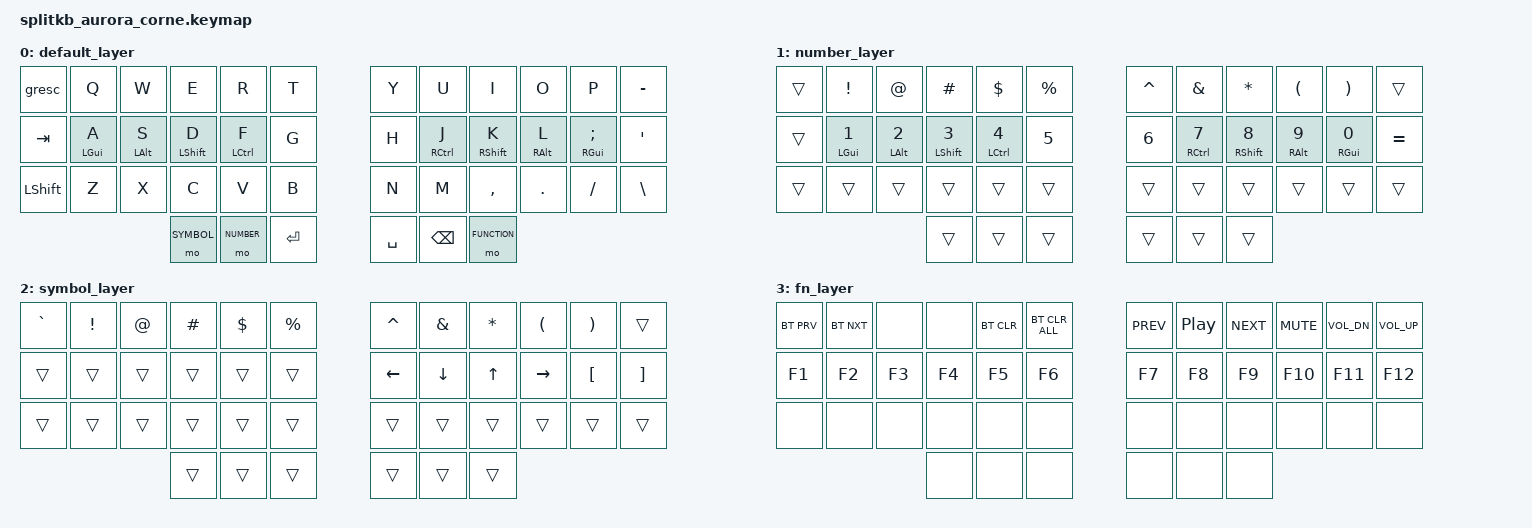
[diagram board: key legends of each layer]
/*
 * Copyright (c) 2020 The ZMK Contributors
 *
 * SPDX-License-Identifier: MIT
 */

#include <behaviors.dtsi>
#include <dt-bindings/zmk/keys.h>
#include <dt-bindings/zmk/bt.h>

#define DEFAULT    0
#define NUMBER     1
#define SYMBOL     2
#define FUNCTION   3

&mt {
  flavor = "tap-preferred";
};

/ {
        keymap {
                compatible = "zmk,keymap";

                default_layer {
// -----------------------------------------------------------------------------------------
// |  ESC |  Q  |  W  |  E  |  R  |  T  |   |  Y  |  U   |  I  |  O  |  P  |  -  |
// | TAB  |  A  |  S  |  D  |  F  |  G  |   |  H  |  J   |  K  |  L  |  ;  |  '  |
// | SHFT |  Z  |  X  |  C  |  V  |  B  |   |  N  |  M   |  ,  |  .  |  /  |  \  |
//                    | SYM | NUM | ENT |   | SPC | BKSPC  | FN |
                        bindings = <
   &gresc    &kp Q      &kp W      &kp E             &kp R             &kp T           &kp Y      &kp U        &kp I       &kp O       &kp P          &kp MINUS
   &kp TAB   &mt LGUI A &mt LALT S &mt LSHFT D       &mt LCTRL F       &kp G           &kp H      &mt RCTRL J  &mt RSHFT K &mt RALT L  &mt RGUI SEMI  &kp SQT 
   &kp LSHFT &kp Z      &kp X      &kp C             &kp V             &kp B           &kp N      &kp M        &kp COMMA   &kp DOT     &kp FSLH       &kp BSLH
                                   &mo SYMBOL        &mo NUMBER        &kp RET         &kp SPACE  &kp BSPC     &mo FUNCTION
                        >;
                };
                number_layer {
// -----------------------------------------------------------------------------------------
// |     |  !  |  @  |  #  |  $  |  %  |   |  ^  |  &  |  *  |  (  |  )  |  -  |
// |     |  1  |  2  |  3  |  4  |  5  |   |  6  |  7  |  8  |  9  |  0  |  =  |
// |     |     |     |     |     |     |   |     |     |     |     |     |     |
//                   |     |     |     |   |     |     |     |
                        bindings = <
   &trans  &kp EXCL     &kp AT       &kp HASH      &kp DLLR      &kp PRCNT       &kp CARET  &kp AMPS      &kp ASTRK     &kp LPAR     &kp RPAR     &trans
   &trans  &mt LGUI N1  &mt LALT N2  &mt LSHFT N3  &mt LCTRL N4  &kp N5          &kp N6     &mt RCTRL N7  &mt RSHFT N8  &mt RALT N9  &mt RGUI N0  &kp EQUAL
   &trans  &trans       &trans       &trans        &trans        &trans          &trans     &trans        &trans        &trans       &trans       &trans
                                     &trans        &trans        &trans          &trans     &trans        &trans
                        >;
                };

                symbol_layer {
// -----------------------------------------------------------------------------------------
// |  TAB |  !  |  @  |  #  |  $  |  %  |   |  ^  |  &  |  *  |  (  |  )  | BKSP |
// | CTRL |     |     |     |     |     |   |  L  |  D  |  U  |  R  |  [  |  ]   |
// | SHFT |     |     |     |     |     |   |     |     |     |     |     |      |
//                    | GUI |     | SPC |   | ENT |     | ALT |
                        bindings = <
   &kp GRAVE &kp EXCL &kp AT &kp HASH &kp DLLR &kp PRCNT      &kp CARET &kp AMPS  &kp ASTRK &kp LPAR  &kp RPAR &trans
   &trans    &trans   &trans &trans   &trans   &trans         &kp LEFT  &kp DOWN  &kp UP    &kp RIGHT &kp LBKT &kp RBKT
   &trans    &trans   &trans &trans   &trans   &trans         &trans    &trans    &trans    &trans    &trans   &trans
                             &trans   &trans   &trans         &trans    &trans    &trans
                        >;
                };

                fn_layer {
// -----------------------------------------------------------------------------------------
// |  F1      |  F2   |  F3    | F4  | F5  | F6  |   | F7  | F8   | F9    | F10  | F11  | F12      |
// | BTCLR    | BT1   | BT2    | BT3 | BT4 | BT5 |   | LFT | DWN  | UP    | RGT  |      | VOL UP   |
// | BTCLRALL |       |        |     |     |     |   |     | PREV | PAUSE | NEXT | MUTE | VOL DOWN |
//                             |     |     | SPC |   | ENT |      | ALT   |
                        bindings = <
   &bt BT_PRV  &bt BT_NXT  &none   &none   &bt BT_CLR   &bt BT_CLR_ALL     &kp C_PREV  &kp C_PP  &kp C_NEXT  &kp C_MUTE  &kp C_VOL_DN  &kp C_VOL_UP
   &kp F1      &kp F2      &kp F3  &kp F4  &kp F5       &kp F6             &kp F7      &kp F8    &kp F9      &kp F10     &kp F11       &kp F12
   &none       &none       &none   &none   &none        &none              &none       &none     &none       &none       &none         &none
                                   &none   &none        &none              &none       &none     &none
                        >;
                };
        };
};
